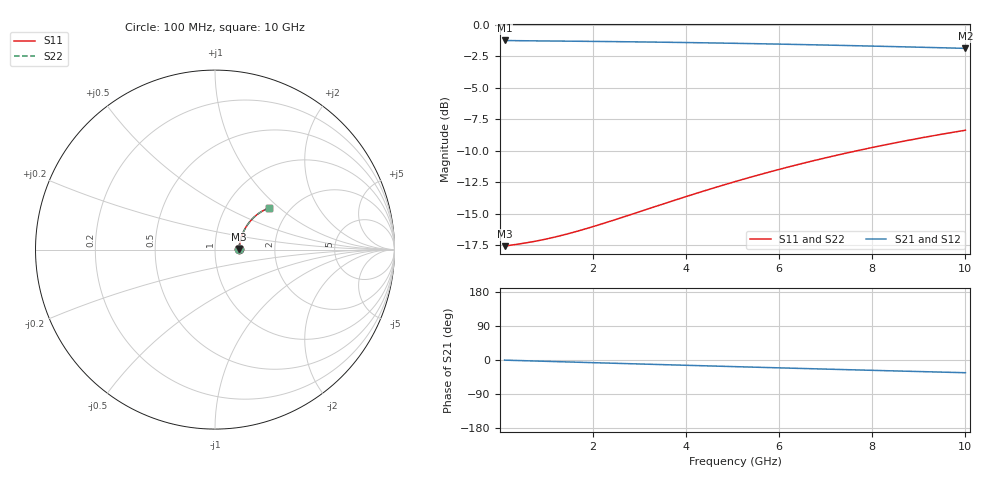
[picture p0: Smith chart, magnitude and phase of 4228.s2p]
# Hz S RI R 50.00
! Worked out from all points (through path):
!   100 points, 100 MHz to 10 GHz, reference 50 ohm
!   highest |S21| = -1.23 dB at 100 MHz (marker M1); lowest = -1.9 dB at 10 GHz (marker M2)
!   group delay of S21, straight-line fit = 9.35 ps
!   lowest |S11| = -17.6 dB at 100 MHz (marker M3), VSWR 1.30, Z = 65.2 + j0.428 ohm
!   |S11| at or under -10 dB: start of sweep to 7.671 GHz
!   |S22| runs from -17.6 to -8.4 dB; largest |S21 - S12| = 0
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1e8  0.132 0.00323  0.868 -0.00535  0.868 -0.00535  0.132 0.00323
6e8  0.1351 0.0192  0.8648 -0.0319  0.8648 -0.0319  0.1351 0.0192
8e8  0.1362 0.0255  0.8636 -0.0425  0.8636 -0.0425  0.1362 0.0255
1e9  0.1374 0.0318  0.8624 -0.053  0.8624 -0.053  0.1374 0.0318
1.4e9  0.14 0.0443  0.8595 -0.074  0.8595 -0.074  0.14 0.0443
1.8e9  0.1432 0.0566  0.856 -0.0949  0.856 -0.0949  0.1432 0.0566
2.4e9  0.1488 0.0748  0.8498 -0.1257  0.8498 -0.1257  0.1488 0.0748
2.9e9  0.1544 0.0895  0.8435 -0.1511  0.8435 -0.1511  0.1544 0.0895
3.4e9  0.1608 0.1038  0.8364 -0.176  0.8364 -0.176  0.1608 0.1038
4.3e9  0.1743 0.1282  0.8212 -0.2196  0.8212 -0.2196  0.1743 0.1282
4.7e9  0.1811 0.1385  0.8135 -0.2384  0.8135 -0.2384  0.1811 0.1385
5.1e9  0.1883 0.1484  0.8054 -0.2569  0.8054 -0.2569  0.1883 0.1484
5.5e9  0.196 0.1579  0.7967 -0.2749  0.7967 -0.2749  0.196 0.1579
5.9e9  0.204 0.167  0.7875 -0.2925  0.7875 -0.2925  0.204 0.167
6.3e9  0.2124 0.1756  0.7779 -0.3097  0.7779 -0.3097  0.2124 0.1756
6.7e9  0.2211 0.1838  0.7679 -0.3265  0.7679 -0.3265  0.2211 0.1838
7.1e9  0.2302 0.1915  0.7575 -0.3427  0.7575 -0.3427  0.2302 0.1915
7.5e9  0.2395 0.1987  0.7467 -0.3586  0.7467 -0.3586  0.2395 0.1987
7.9e9  0.2491 0.2054  0.7356 -0.3739  0.7356 -0.3739  0.2491 0.2054
8.4e9  0.2614 0.2131  0.7213 -0.3924  0.7213 -0.3924  0.2614 0.2131
9.2e9  0.2817 0.2238  0.6975 -0.4204  0.6975 -0.4204  0.2817 0.2238
1e10  0.3026 0.2325  0.6727 -0.4464  0.6727 -0.4464  0.3026 0.2325
